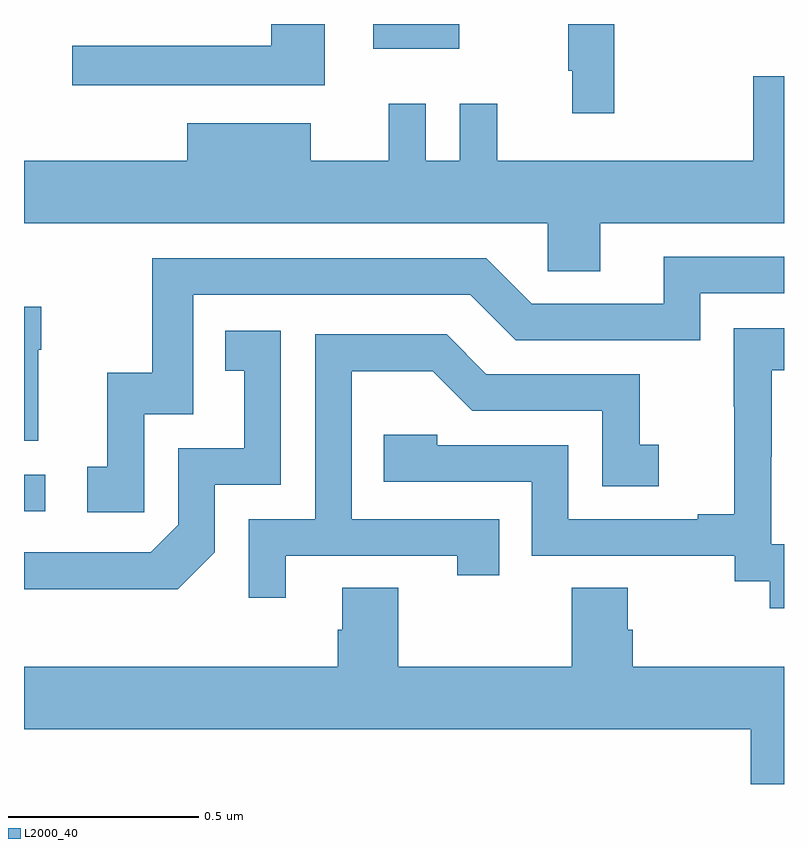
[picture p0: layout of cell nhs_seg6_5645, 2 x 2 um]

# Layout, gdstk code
import gdstk
lib = gdstk.Library(unit=1e-6, precision=1e-09)
def R(c, l, rs):  # rectangles x0, y0, x1, y1
    for r in rs: c.add(gdstk.rectangle(r[:2], r[2:], *l))
def P(c, l, *ps):  # polygons
    for p in ps: c.add(gdstk.Polygon(p, *l))
L2000_40 = (2000, 40)

nhs_seg6_5645 = lib.new_cell('nhs_seg6_5645')
R(nhs_seg6_5645, L2000_40, [(185,973.218,185.056,973.314), (185.919,974.435,186.145,974.5)])
P(nhs_seg6_5645, L2000_40, [(186.553,974.5),(186.432,974.5),(186.432,974.377),(186.443,974.377),(186.443,974.265),(186.553,974.265)],
  [(185.791,974.5),(185.651,974.5),(185.651,974.443),(185.127,974.443),(185.127,974.339),(185.791,974.339)],
  [(186.517,973.976),(187,973.976),(187,974.362),(186.919,974.362),(186.919,974.14),(186.245,974.14),(186.245,974.29),(186.147,974.29),(186.147,974.14),(186.057,974.14),(186.057,974.29),(185.96,974.29),(185.96,974.14),(185.755,974.14),(185.755,974.239),(185.429,974.239),(185.429,974.14),(185,974.14),(185,973.976),(186.378,973.976),(186.378,973.849),(186.517,973.849)],
  [(185.316,973.473),(185.445,973.473),(185.445,973.788),(186.174,973.788),(186.294,973.668),(186.78,973.668),(186.78,973.791),(187,973.791),(187,973.887),(186.683,973.887),(186.683,973.764),(186.336,973.764),(186.216,973.884),(185.337,973.884),(185.337,973.582),(185.219,973.582),(185.219,973.335),(185.166,973.335),(185.166,973.215),(185.316,973.215)],
  [(185.038,973.643),(185.046,973.643),(185.046,973.756),(185,973.756),(185,973.403),(185.038,973.403)],
  [(187,973.131),(186.966,973.131),(186.966,973.361),(186.968,973.361),(186.968,973.589),(187,973.589),(187,973.699),(186.868,973.699),(186.868,973.493),(186.869,973.493),(186.869,973.21),(186.773,973.21),(186.773,973.197),(186.432,973.197),(186.432,973.392),(186.087,973.392),(186.087,973.419),(185.947,973.419),(185.947,973.296),(186.336,973.296),(186.336,973.101),(186.87,973.101),(186.87,973.033),(186.963,973.033),(186.963,972.963),(187,972.963)],
  [(185.502,973.11),(185.502,973.287),(185.676,973.287),(185.676,973.693),(185.53,973.693),(185.53,973.587),(185.579,973.587),(185.579,973.383),(185.406,973.383),(185.406,973.182),(185.334,973.11),(185,973.11),(185,973.013),(185.404,973.013)],
  [(185.689,973.101),(186.14,973.101),(186.14,973.05),(186.251,973.05),(186.251,973.197),(185.862,973.197),(185.862,973.586),(186.076,973.586),(186.18,973.482),(186.522,973.482),(186.522,973.284),(186.67,973.284),(186.67,973.393),(186.621,973.393),(186.621,973.578),(186.217,973.578),(186.112,973.683),(185.766,973.683),(185.766,973.197),(185.592,973.197),(185.592,972.99),(185.689,972.99)],
  [(187,972.808),(186.602,972.808),(186.602,972.906),(186.589,972.906),(186.589,973.016),(186.442,973.016),(186.442,972.808),(185.985,972.808),(185.985,973.016),(185.837,973.016),(185.837,972.906),(185.825,972.906),(185.825,972.808),(185,972.808),(185,972.644),(186.912,972.644),(186.912,972.5),(187,972.5)])

lib.write_gds('nhs_seg6_5645.gds')
